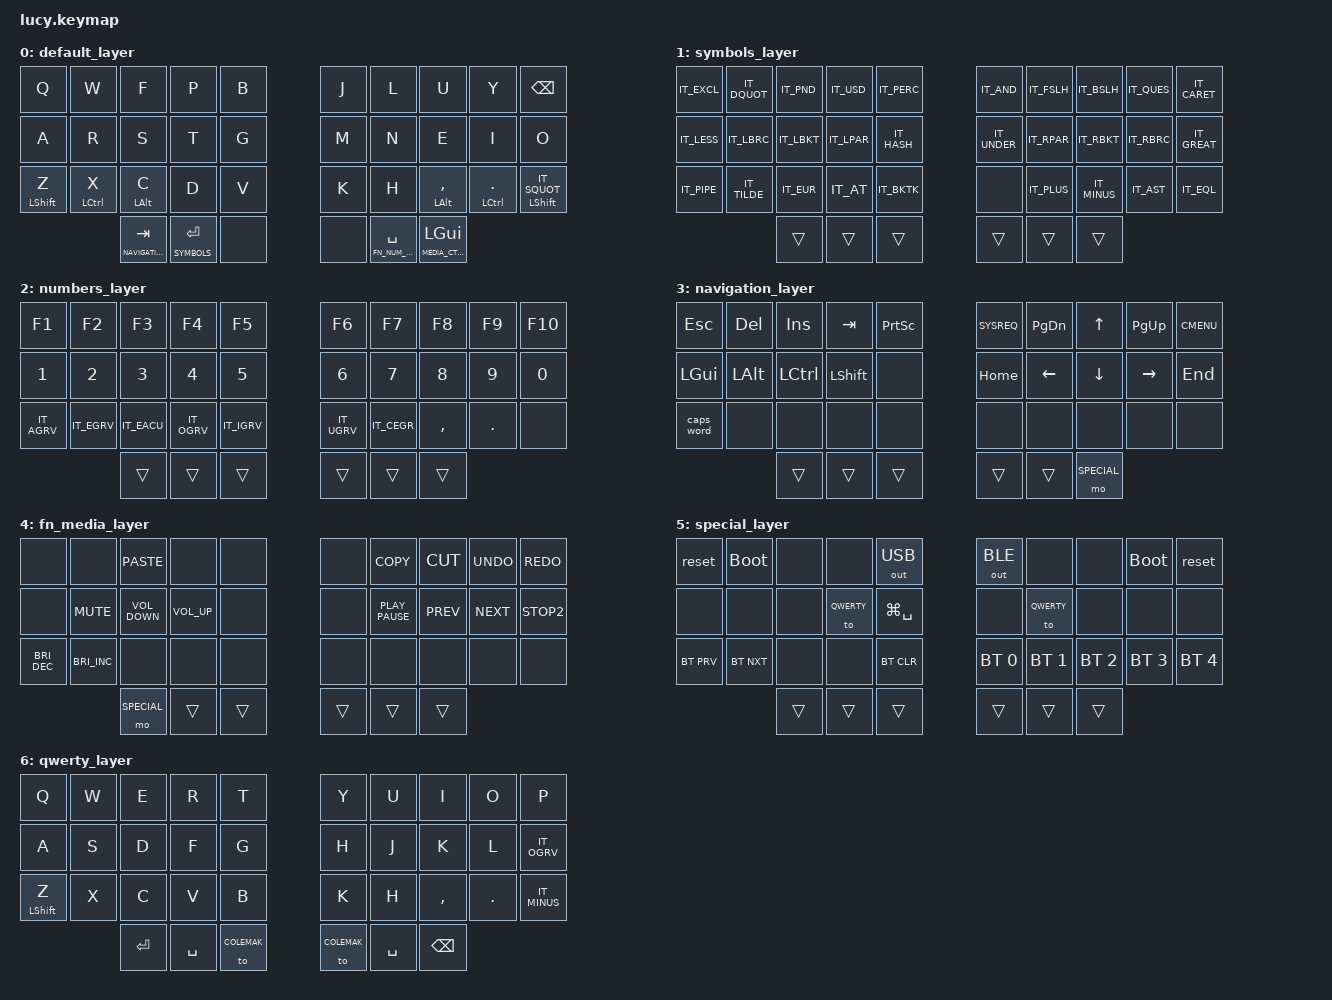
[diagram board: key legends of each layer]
/*
 * Copyright (c) 2020 The ZMK Contributors
 *
 * SPDX-License-Identifier: MIT
 */

#include "italian.keycodes"

#include <behaviors.dtsi>
#include <dt-bindings/zmk/keys.h>
#include <dt-bindings/zmk/outputs.h>
#include <dt-bindings/zmk/bt.h>

#define COLEMAK             0
#define SYMBOLS             1
#define FN_NUM_ACCS         2
#define NAVIGATION          3
#define MEDIA_CTRL          4
#define SPECIAL             5

#define QWERTY              6

&mt {
  // flavor = "tap-preferred";
  // tapping_term_ms = <200>;
};

/ {

/*    combos {
        compatible = "zmk,combos";

        // gets access to
        combo_special {
            timeout-ms = <50>;
            layers= <COLEMAK>
            key-positions = <15 33>;
            bindings = <&mo SPECIAL>;
        };
*/

// RIGHT NOW IT IS MEANT TO BE USED WITH THE ITALIAN QWERTY LAYOUT. THIS MAY CHANGE IN THE FUTURE IN ORDER TO USE THE EN-US

        keymap {
                compatible = "zmk,keymap";

//  COLEMAK-DH
// |    Q   |   W   |   F   |   P   |   B   |                           |  J   |   L   |   U   |   Y   |   BKSP    |
// |    A   |   R   |   S   |   T   |   G   |                           |  M   |   N   |   E   |   I   |   O   |
// |    Z   |   X   |   C   |   D   |   V   |                           |   K   |   H   |   ,   |   .   |   '   |
//                          |   LAYER 2   |   RET   |   TAB   |           |   GUI   |   SPACE   |   LAYER 3   |
       		default_layer {
		bindings = <
		&kp Q &kp W &kp F &kp P &kp B 						&kp J &kp L  &kp U    &kp Y   &kp BKSP
		&kp A &kp R &kp S &kp T &kp G 			        	&kp M &kp N &kp E &kp I &kp O
		&mt LSHFT Z &mt LCTRL X &mt LALT C &kp D &kp V				        &kp K &kp H  &mt LALT CMMA &mt LCTRL DOT &mt LSHFT IT_SQUOT
          				&lt NAVIGATION TAB &lt SYMBOLS RET &none  				&none &lt FN_NUM_ACCS SPC &lt MEDIA_CTRL LGUI
		>;
		};

//  SYMBOLS
// |   !   |   "   |   £   |   $   |    %   |                           |   &   |   /   |   \   |   ?   |   ^   |
// |    <   |   {   |   [   |   (   |   #   |                           |   _   |   )   |   ]   |   }   |   >   |
// |    |   |   ~   |   €   |   @   |   `   |                           |   §   |   +   |   -   |   *    |   =   |
//                          |   X   |   X   |   X   |           |   X   |   X   |   X   |
       		symbols_layer {
		bindings = <
		&kp IT_EXCL    &kp IT_DQUOT    &kp IT_PND    &kp IT_USD	&kp IT_PERC     	        &kp IT_AND &kp IT_FSLH &kp IT_BSLH &kp IT_QUES &kp IT_CARET
		&kp IT_LESS    &kp IT_LBRC    &kp IT_LBKT      &kp IT_LPAR     &kp IT_HASH   		&kp IT_UNDER &kp IT_RPAR  &kp IT_RBKT &kp IT_RBRC  &kp IT_GREAT
		&kp IT_PIPE    &kp IT_TILDE 	&kp IT_EUR &kp IT_AT  &kp IT_BKTK 	                    &none &kp IT_PLUS &kp IT_MINUS &kp IT_AST  &kp IT_EQL
					                                &trans  &trans &trans  			  &trans &trans &trans
		>;
		};

// FUNCTIONS KEYS, NUMBERS AND ACCENTS
// TODO: F11 e F12 mancano. Posso pensare di aggiungerli sul thumb cluster
// |   F1   |   F2   |   F3   |   F4   |   F5   |                       |   F6   |   F7   |   F8   |   F9   |   F10   |
// |    1   |   2   |   3   |   4   |   5   |                           |   6   |   7   |   8   |   9   |   0   |
// |    à   |   è   |   é   |   ò   |   ì   |                           |   ù   |   È    |   ,   |   .  |       |
//                          |   X   |   X   |   X   |           |   X   |   X   |   X   |
		    numbers_layer {
		bindings = <
		&kp F1  &kp F2 &kp F3  &kp F4  &kp F5    		                        	&kp F6  &kp F7 &kp F8 &kp F9 &kp F10
		&kp N1  &kp N2  &kp N3  &kp N4  &kp N5 		                            	&kp N6 &kp N7  &kp N8  &kp  N9   &kp N0
		&kp IT_AGRV  &kp IT_EGRV &kp IT_EACU &kp IT_OGRV   &kp IT_IGRV    			&kp IT_UGRV &kp IT_CEGR &kp CMMA &kp DOT  &none
					                                &trans  &trans &trans  			&trans &trans &trans
		>;
		};	

// NAVIGATION LAYER
// TODO: aggiungere la navigazione con il mouse quando disponibile nel branch master di zmk
// |   ESC   |   DELETE   |   INSERT  |   TAB   |   PRINTSCREEN   |                           |   SYSREQ   |   PAGE_DOWN   |   UP   |   PAGE_UP   |   K_CMENU   |
// |    GUI   |   ALT   |   CTRL   |   SHIFT   |       |                                      |   HOME   |   LEFT   |   DOWN   |   RIGHT   |   END   |
// |   &caps_word    |      |      |      |      |                                            |      |      |       |       |       |
//                          |   X   |   X   |   X   |                                           |   X   |   X   |   X   |
		    navigation_layer {
		bindings = <
		&kp ESC  &kp DELETE    &kp INSERT    &kp TAB    &kp PRINTSCREEN 			&kp SYSREQ &kp PAGE_DOWN   &kp UP   &kp PAGE_UP  &kp K_CMENU
		&kp LGUI &kp LALT &kp LCTRL &kp LSHIFT &none  						            &kp HOME &kp LEFT  &kp DOWN &kp RIGHT &kp END
		&caps_word  &none &none &none &none   			            	            &none &none  &none  &none &none
					&trans &trans &trans  				                        	&trans &trans &mo SPECIAL
		>;
		};

// MEDIA & CONTROLS
// |       |      |      |   K_PASTE   |      |                                                 |      |   K_COPY   |   K_CUT   |   K_UNDO   |   K_REDO   |
// |       |   K_MUTE  |   K_VOLUME_DOWN   |   K_VOLUME_UP   |     |                           |      |   K_PLAY_PAUSE   |   K_PREV   |   K_NEXT   |   K_STOP2   |
// |    C_BRIGHTNESS_DEC    |   C_BRIGHTNESS_INC    |       |       |       |                           |       |      |       |       |       |
//                          |   X   |   X   |   X   |           |   X   |   X   |   X   |
		    fn_media_layer {
		bindings = <
		&none  &none    &kp K_PASTE    &none    &none            			    &none &kp K_COPY   &kp K_CUT   &kp K_UNDO  &kp K_REDO
		&none  &kp K_MUTE    &kp K_VOLUME_DOWN &kp K_VOLUME_UP &none  			&none &kp K_PLAY_PAUSE  &kp K_PREV &kp K_NEXT &kp K_STOP2
		&kp C_BRIGHTNESS_DEC  &kp C_BRIGHTNESS_INC &none &none &none   			&none &none &none &none &none
					&mo SPECIAL &trans &trans  					                    &trans &trans &trans
		>;
		};

// SPECIAL LAYER TO CONTROL KEYBOARD FEATURES
// |    &reset   |   &bootloader   |      |      |   &out OUT_USB   |                           |   &out OUT_BLE   |      |      |   &bootloader   |   &reset   |
// |       |      |      |   TO QWERTY    |     |                                                        |      |   TO QWERTY    |      |      |      |
// |    &bt BT_PRV   |      |      |      |   &bt BT_CLR   |                                 |   &bt BT_SEL0   |      |       |       |   &bt BT_NXT    |
//                          |   X   |   X   |   X   |                                       |   X   |   X   |   X   |
		    special_layer {
		bindings = <
		&reset  &bootloader &none &none &out OUT_USB 			         &out OUT_BLE &none   &none   &bootloader  &reset
		&none &none &none &to QWERTY &kp LG(SPC)  						     &none &to QWERTY  &none &none &none
		&bt BT_PRV  &bt BT_NXT &none &none &bt BT_CLR   	             &bt BT_SEL 0 &bt BT_SEL 1  &bt BT_SEL 2 &bt BT_SEL 3 &bt BT_SEL 4

				            	&trans &trans &trans  					         &trans &trans &trans
		>;
		};

//  QWERTY, mainly for gaming
// |    Q   |   W   |   E   |   R   |   T   |                           |  Y   |   U   |   I   |   O   |   P    |
// |    A   |   S  |   D   |   F   |   G   |                           |  H   |   J   |   K   |   L   |  Ò   |
// |    Z   |   X   |   C   |   V   |   B   |                           |   N   |   M   |   ,   |   .   |   -   |
//                          |   X   |   X   |   X   |           |   X   |   X   |   X   |
       		qwerty_layer {
		bindings = <
		&kp Q &kp W &kp E &kp R  &kp T 						&kp Y &kp U  &kp I &kp O &kp P
		&kp A &kp S &kp D &kp F &kp G 			        	&kp H &kp J &kp K &kp L &kp IT_OGRV
		&mt LSHFT Z &kp X &kp C &kp V &kp B				    &kp K &kp H  &kp CMMA &kp DOT &kp IT_MINUS
          				&kp RET &kp SPC &to COLEMAK   		&to COLEMAK &kp SPC &kp BKSP
		>;
		};

	};
};
